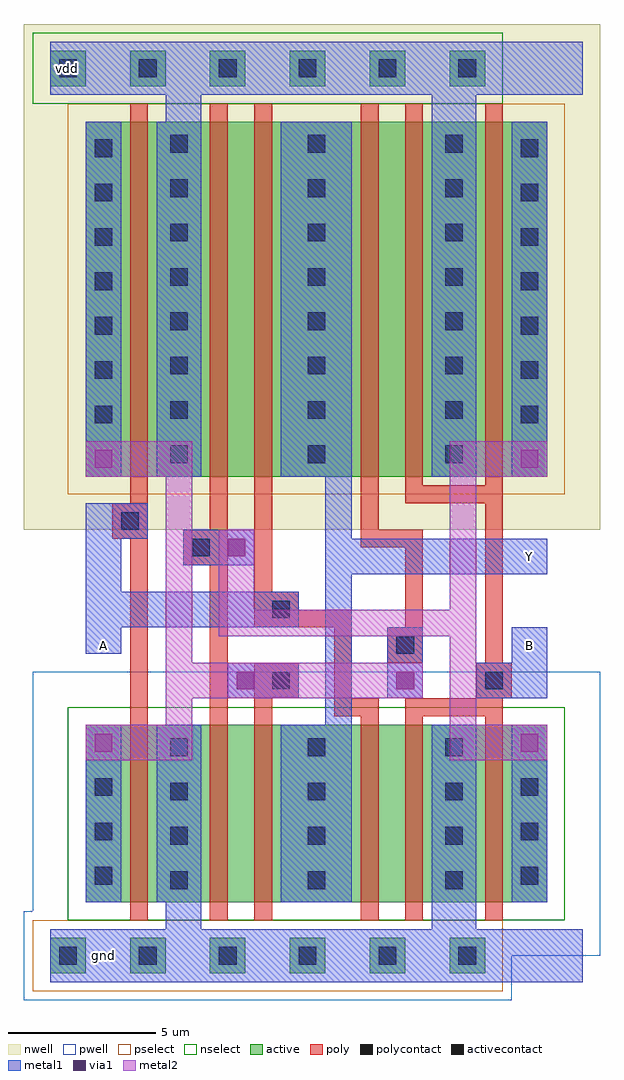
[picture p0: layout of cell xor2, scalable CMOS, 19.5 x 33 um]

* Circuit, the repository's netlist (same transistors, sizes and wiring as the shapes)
* FILE: xor2.sp


* SPICE netlist for "xor2" generated by MMI_SUE5.6.29 on Wed Oct 18 
*+ 09:55:15 CDT 2017.

.SUBCKT xor2 a b out 
M_1 net_4 b vdd vdd p W='12*1u' L='0.6*1u' 
M_2 out net_1 net_4 vdd p W='12*1u' L='0.6*1u' 
M_3 out a net_6 vdd p W='12*1u' L='0.6*1u' 
M_4 net_6 net_3 vdd vdd p W='12*1u' L='0.6*1u' 
M_5 net_2 b gnd gnd n W='6*1u' L='0.6*1u' 
M_6 net_5 net_3 gnd gnd n W='6*1u' L='0.6*1u' 
M_7 out a net_2 gnd n W='6*1u' L='0.6*1u' 
M_8 out net_1 net_5 gnd n W='6*1u' L='0.6*1u' 
M_9 net_1 a vdd vdd p W='12*1u' L='0.6*1u' 
M_10 net_1 a gnd gnd n W='6*1u' L='0.6*1u' 
M_11 net_3 b vdd vdd p W='12*1u' L='0.6*1u' 
M_12 net_3 b gnd gnd n W='6*1u' L='0.6*1u' 
.ENDS	$ xor2

.GLOBAL gnd vdd

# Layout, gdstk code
import gdstk
lib = gdstk.Library(unit=1e-6, precision=1e-09)
def R(c, l, rs):  # rectangles x0, y0, x1, y1
    for r in rs: c.add(gdstk.rectangle(r[:2], r[2:], *l))
def A(c, l, x, y, w, h, nx, ny, dx, dy):  # array of equal rectangles
    R(c, l, [(x+i*dx, y+j*dy, x+i*dx+w, y+j*dy+h) for i in range(nx) for j in range(ny)])
pwell = (41, 0)
nwell = (42, 0)
active = (43, 0)
pselect = (44, 0)
nselect = (45, 0)
poly = (46, 0)
polycontact = (47, 0)
activecontact = (48, 0)
metal1 = (49, 0)
via1 = (50, 0)
metal2 = (51, 0)

xor2 = lib.new_cell('xor2')
R(xor2, pwell, [(3,-1.5,19.5,0), (3,0,22.5,1.5), (3.3,1.5,22.5,9.6)])
R(xor2, nwell, [(3,14.4,22.5,31.5)])
A(xor2, active, 3.9, -0.6, 1.2, 1.2, 6, 2, 2.7, 30)
R(xor2, active, [(5.1,1.8,20.7,7.8), (5.1,16.2,20.7,28.2)])
R(xor2, pselect, [(3.3,-1.2,19.2,1.2), (4.5,15.6,21.3,28.8)])
R(xor2, nselect, [(4.5,1.2,21.3,8.4), (3.3,28.8,19.2,31.2)])
R(xor2, poly, [(6.6,1.2,7.2,14.1), (9.3,1.2,9.9,13.2), (10.8,1.2,11.4,8.7), (14.4,1.2,15,8.1), (15.9,1.2,16.5,8.1), (18.6,1.2,19.2,8.1), (13.5,8.1,15,8.7), (15.9,8.1,19.2,8.7), (10.8,8.7,12.3,9.9), (13.5,8.7,14.1,11.1), (18.3,8.7,19.5,9.9), (15.3,9.9,16.5,11.1), (18.6,9.9,19.2,15.3), (10.8,11.1,14.1,11.7), (15.9,11.1,16.5,13.8), (10.8,11.7,12.3,12.3), (10.8,12.3,11.4,28.8), (8.4,13.2,9.9,14.4), (14.4,13.8,16.5,14.4), (6,14.1,7.2,15.3), (9.3,14.4,9.9,28.8), (14.4,14.4,15,28.8), (6.6,15.3,7.2,28.8), (15.9,15.3,19.2,15.9), (15.9,15.9,16.5,28.8), (18.6,15.9,19.2,28.8)])
R(xor2, polycontact, [(11.4,9,12,9.6), (18.6,9,19.2,9.6), (15.6,10.2,16.2,10.8), (11.4,11.4,12,12), (8.7,13.5,9.3,14.1), (6.3,14.4,6.9,15)])
A(xor2, activecontact, 4.2, -0.3, 0.6, 0.6, 6, 2, 2.7, 30)
A(xor2, activecontact, 7.95, 2.25, 0.6, 0.6, 3, 4, 4.65, 1.5)
A(xor2, activecontact, 5.4, 2.4, 0.6, 0.6, 1, 3, 0, 1.5)
A(xor2, activecontact, 19.8, 2.4, 0.6, 0.6, 1, 3, 0, 1.5)
A(xor2, activecontact, 7.95, 16.65, 0.6, 0.6, 3, 8, 4.65, 1.5)
A(xor2, activecontact, 5.4, 18, 0.6, 0.6, 1, 7, 0, 1.5)
A(xor2, activecontact, 19.8, 18, 0.6, 0.6, 1, 7, 0, 1.5)
R(xor2, metal1, [(3.9,-0.9,21.9,0.9), (7.8,0.9,9,1.8), (16.8,0.9,18.3,7.8), (5.1,1.8,6.3,7.8), (7.5,1.8,9,7.8), (11.7,1.8,14.1,7.8), (19.5,1.8,20.7,7.8), (13.2,7.8,14.1,12.9), (9.9,8.7,12.3,9.9), (15.3,8.7,16.5,11.1), (18.3,8.7,20.7,9.9), (19.5,9.9,20.7,11.1), (5.1,10.2,6.3,11.1), (5.1,11.1,12.3,12.3), (5.1,12.3,6.3,14.1), (13.2,12.9,20.7,14.1), (8.4,13.2,10.8,14.4), (5.1,14.1,7.2,15.3), (13.2,14.1,14.1,16.2), (5.1,16.2,6.3,28.2), (7.5,16.2,9,28.2), (11.7,16.2,14.1,28.2), (16.8,16.2,18.3,29.1), (19.5,16.2,20.7,28.2), (7.8,28.2,9,29.1), (3.9,29.1,21.9,30.9)])
R(xor2, via1, [(5.4,6.9,6,7.5), (19.8,6.9,20.4,7.5), (10.2,9,10.8,9.6), (15.6,9,16.2,9.6), (9.9,13.5,10.5,14.1), (5.4,16.5,6,17.1), (19.8,16.5,20.4,17.1)])
R(xor2, metal2, [(5.1,6.6,8.7,7.8), (17.4,6.6,20.7,7.8), (7.8,7.8,8.7,8.7), (17.4,7.8,18.3,10.8), (7.8,8.7,16.5,9.9), (7.8,9.9,8.7,16.2), (9.6,10.8,18.3,11.7), (9.6,11.7,10.8,14.4), (17.4,11.7,18.3,16.2), (5.1,16.2,8.7,17.4), (17.4,16.2,20.7,17.4)])
xor2.add(gdstk.Label('vdd', (4.5,30), layer=49, texttype=0))
xor2.add(gdstk.Label('gnd', (5.7,0), layer=49, texttype=0))
xor2.add(gdstk.Label('A', (5.7,10.5), layer=49, texttype=0))
xor2.add(gdstk.Label('B', (20.1,10.5), layer=49, texttype=0))
xor2.add(gdstk.Label('Y', (20.1,13.5), layer=49, texttype=0))

lib.write_gds('xor2.gds')
